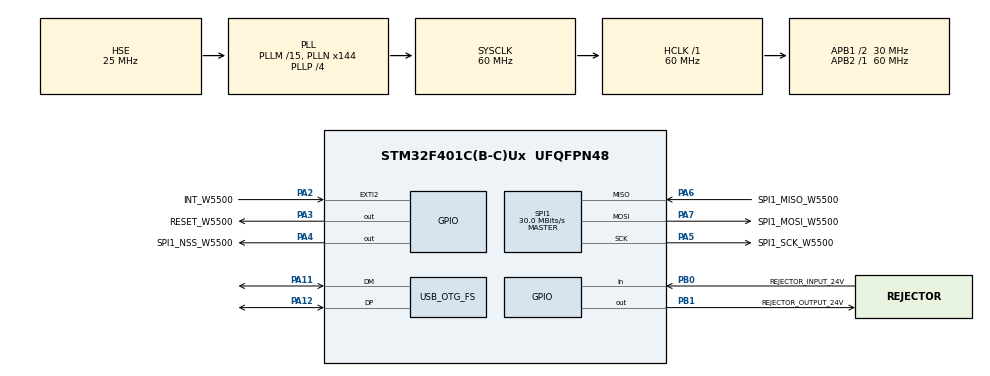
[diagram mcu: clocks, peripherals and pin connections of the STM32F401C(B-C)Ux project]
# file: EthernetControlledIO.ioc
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Mcu.Family=STM32F4
Mcu.Name=STM32F401C(B-C)Ux
Mcu.Package=UFQFPN48
NVIC.EXTI2_IRQn=true\:0\:0\:false\:false\:true\:true\:true\:true
NVIC.OTG_FS_IRQn=true\:0\:0\:false\:false\:true\:false\:true\:true
NVIC.PriorityGroup=NVIC_PRIORITYGROUP_4
NVIC.TIM1_UP_TIM10_IRQn=true\:0\:0\:false\:false\:true\:true\:true\:true
PA11.Mode=Device_Only
PA11.Signal=USB_OTG_FS_DM
PA12.Mode=Device_Only
PA12.Signal=USB_OTG_FS_DP
PA13.Mode=Serial_Wire
PA13.Signal=SYS_JTMS-SWDIO
PA14.Mode=Serial_Wire
PA14.Signal=SYS_JTCK-SWCLK
PA2.GPIO_Label=INT_W5500
PA2.Signal=GPXTI2
PA3.GPIO_Label=RESET_W5500
PA3.Signal=GPIO_Output
PA4.GPIO_Label=SPI1_NSS_W5500
PA4.Signal=GPIO_Output
PA5.GPIO_Label=SPI1_SCK_W5500
PA5.Mode=Full_Duplex_Master
PA5.Signal=SPI1_SCK
PA6.GPIO_Label=SPI1_MISO_W5500
PA6.Mode=Full_Duplex_Master
PA6.Signal=SPI1_MISO
PA7.GPIO_Label=SPI1_MOSI_W5500
PA7.Mode=Full_Duplex_Master
PA7.Signal=SPI1_MOSI
PB0.GPIO_Label=REJECTOR_INPUT_24V
PB0.Signal=GPIO_Input
PB1.GPIO_Label=REJECTOR_OUTPUT_24V
PB1.Signal=GPIO_Output
PH0\ -\ OSC_IN.Mode=HSE-External-Oscillator
PH0\ -\ OSC_IN.Signal=RCC_OSC_IN
PH1\ -\ OSC_OUT.Mode=HSE-External-Oscillator
PH1\ -\ OSC_OUT.Signal=RCC_OSC_OUT
ProjectManager.HeapSize=0x200
ProjectManager.StackSize=0x400
ProjectManager.TargetToolchain=STM32CubeIDE
RCC.48MHZClocksFreq_Value=48000000
RCC.AHBFreq_Value=60000000
RCC.APB1CLKDivider=RCC_HCLK_DIV2
RCC.APB1Freq_Value=30000000
RCC.APB1TimFreq_Value=60000000
RCC.APB2Freq_Value=60000000
RCC.APB2TimFreq_Value=60000000
RCC.CortexFreq_Value=60000000
RCC.HCLKFreq_Value=60000000
RCC.HSE_VALUE=25000000
RCC.HSI_VALUE=16000000
RCC.LSE_VALUE=32768
RCC.PLLM=15
RCC.PLLN=144
RCC.PLLP=RCC_PLLP_DIV4
RCC.PLLQ=5
RCC.SYSCLKFreq_VALUE=60000000
RCC.SYSCLKSource=RCC_SYSCLKSOURCE_PLLCLK
RCC.VCOOutputFreq_Value=240000000
SPI1.BaudRatePrescaler=SPI_BAUDRATEPRESCALER_2
SPI1.CalculateBaudRate=30.0 MBits/s
SPI1.Direction=SPI_DIRECTION_2LINES
SPI1.Mode=SPI_MODE_MASTER
SPI1.VirtualType=VM_MASTER
TIM10.Channel=TIM_CHANNEL_1
USB_DEVICE.CLASS_NAME_FS=CDC
USB_DEVICE.VirtualMode=Cdc
USB_DEVICE.VirtualModeFS=Cdc_FS
USB_OTG_FS.VirtualMode=Device_Only
VP_TIM10_VS_ClockSourceINT.Mode=Enable_Timer
VP_TIM10_VS_no_output1.Mode=Output Compare1 No Output
VP_USB_DEVICE_VS_USB_DEVICE_CDC_FS.Mode=CDC_FS
board=custom

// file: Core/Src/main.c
/* USER CODE BEGIN Header */
/**
  ******************************************************************************
  * @file           : main.c
  * @brief          : Main program body
  ******************************************************************************
  * @attention
  *
  * Copyright (c) 2024 STMicroelectronics.
  * All rights reserved.
  *
  * This software is licensed under terms that can be found in the LICENSE file
  * in the root directory of this software component.
  * If no LICENSE file comes with this software, it is provided AS-IS.
  *
  ******************************************************************************
  */
/* USER CODE END Header */
#include "main.h"
#include "usb_device.h"

/* USER CODE BEGIN Includes */
#include <string.h>
#include <stdarg.h>
#include <stdbool.h>
#include "app.h"

#ifdef UNIT_TEST_EN
#include "test_main.h"
#endif
#include "usbd_cdc_if.h"

#if defined (__ICCARM__) || defined (__ARMCC_VERSION)
#define PUTCHAR_PROTOTYPE int fputc(int ch, FILE *f)
#elif defined(__GNUC__)
/* With GCC, small printf (option LD Linker->Libraries->Small printf
set to 'Yes') calls __io_putchar() */
#define PUTCHAR_PROTOTYPE int __io_putchar(int ch)
#endif /* __ICCARM__ || __ARMCC_VERSION */

/* USER CODE END Includes */

SPI_HandleTypeDef hspi1;

TIM_HandleTypeDef htim10;

void SystemClock_Config(void);
static void MX_GPIO_Init(void);
static void MX_SPI1_Init(void);
static void MX_TIM10_Init(void);

int main(void)
{

    /* MCU Configuration--------------------------------------------------------*/

    /* Reset of all peripherals, Initializes the Flash interface and the Systick. */
    HAL_Init();

    /* Configure the system clock */
    SystemClock_Config();

    /* Initialize all configured peripherals */
    MX_GPIO_Init();
    MX_SPI1_Init();
    MX_USB_DEVICE_Init();
    MX_TIM10_Init();
    /* USER CODE BEGIN 2 */
    HAL_Delay(3000);

#ifdef UNIT_TEST_EN
    unitTestCases(NULL);
#endif
    Init_W5500();
    NetworkInit_W5500();
    Start_Listening_To_TCP_Client();
    /* USER CODE END 2 */

    /* Infinite loop */
    while (1)
    {

    }
}

void SystemClock_Config(void)
{
    RCC_OscInitTypeDef RCC_OscInitStruct = {0};
    RCC_ClkInitTypeDef RCC_ClkInitStruct = {0};

    /** Configure the main internal regulator output voltage
    */
    __HAL_RCC_PWR_CLK_ENABLE();
    __HAL_PWR_VOLTAGESCALING_CONFIG(PWR_REGULATOR_VOLTAGE_SCALE2);

    /** Initializes the RCC Oscillators according to the specified parameters
    * in the RCC_OscInitTypeDef structure.
    */
    RCC_OscInitStruct.OscillatorType = RCC_OSCILLATORTYPE_HSE;
    RCC_OscInitStruct.HSEState = RCC_HSE_ON;
    RCC_OscInitStruct.PLL.PLLState = RCC_PLL_ON;
    RCC_OscInitStruct.PLL.PLLSource = RCC_PLLSOURCE_HSE;
    RCC_OscInitStruct.PLL.PLLM = 15;
    RCC_OscInitStruct.PLL.PLLN = 144;
    RCC_OscInitStruct.PLL.PLLP = RCC_PLLP_DIV4;
    RCC_OscInitStruct.PLL.PLLQ = 5;
    if (HAL_RCC_OscConfig(&RCC_OscInitStruct) != HAL_OK)
    {
        Error_Handler();
    }

    /** Initializes the CPU, AHB and APB buses clocks
    */
    RCC_ClkInitStruct.ClockType = RCC_CLOCKTYPE_HCLK | RCC_CLOCKTYPE_SYSCLK
                                  | RCC_CLOCKTYPE_PCLK1 | RCC_CLOCKTYPE_PCLK2;
    RCC_ClkInitStruct.SYSCLKSource = RCC_SYSCLKSOURCE_PLLCLK;
    RCC_ClkInitStruct.AHBCLKDivider = RCC_SYSCLK_DIV1;
    RCC_ClkInitStruct.APB1CLKDivider = RCC_HCLK_DIV2;
    RCC_ClkInitStruct.APB2CLKDivider = RCC_HCLK_DIV1;

    if (HAL_RCC_ClockConfig(&RCC_ClkInitStruct, FLASH_LATENCY_1) != HAL_OK)
    {
        Error_Handler();
    }
}

static void MX_SPI1_Init(void)
{

    /* SPI1 parameter configuration*/
    hspi1.Instance = SPI1;
    hspi1.Init.Mode = SPI_MODE_MASTER;
    hspi1.Init.Direction = SPI_DIRECTION_2LINES;
    hspi1.Init.DataSize = SPI_DATASIZE_8BIT;
    hspi1.Init.CLKPolarity = SPI_POLARITY_LOW;
    hspi1.Init.CLKPhase = SPI_PHASE_1EDGE;
    hspi1.Init.NSS = SPI_NSS_SOFT;
    hspi1.Init.BaudRatePrescaler = SPI_BAUDRATEPRESCALER_2;
    hspi1.Init.FirstBit = SPI_FIRSTBIT_MSB;
    hspi1.Init.TIMode = SPI_TIMODE_DISABLE;
    hspi1.Init.CRCCalculation = SPI_CRCCALCULATION_DISABLE;
    hspi1.Init.CRCPolynomial = 10;
    if (HAL_SPI_Init(&hspi1) != HAL_OK)
    {
        Error_Handler();
    }

}

static void MX_TIM10_Init(void)
{

    TIM_OC_InitTypeDef sConfigOC = {0};

    htim10.Instance = TIM10;
    htim10.Init.Prescaler = 0;
    htim10.Init.CounterMode = TIM_COUNTERMODE_UP;
    htim10.Init.Period = 65535;
    htim10.Init.ClockDivision = TIM_CLOCKDIVISION_DIV1;
    htim10.Init.AutoReloadPreload = TIM_AUTORELOAD_PRELOAD_DISABLE;
    if (HAL_TIM_Base_Init(&htim10) != HAL_OK)
    {
        Error_Handler();
    }
    if (HAL_TIM_OC_Init(&htim10) != HAL_OK)
    {
        Error_Handler();
    }
    sConfigOC.OCMode = TIM_OCMODE_TIMING;
    sConfigOC.Pulse = 0;
    sConfigOC.OCPolarity = TIM_OCPOLARITY_HIGH;
    sConfigOC.OCFastMode = TIM_OCFAST_DISABLE;
    if (HAL_TIM_OC_ConfigChannel(&htim10, &sConfigOC, TIM_CHANNEL_1) != HAL_OK)
    {
        Error_Handler();
    }

}

static void MX_GPIO_Init(void)
{
    GPIO_InitTypeDef GPIO_InitStruct = {0};

    /* GPIO Ports Clock Enable */
    __HAL_RCC_GPIOH_CLK_ENABLE();
    __HAL_RCC_GPIOA_CLK_ENABLE();
    __HAL_RCC_GPIOB_CLK_ENABLE();

    /*Configure GPIO pin Output Level */
    HAL_GPIO_WritePin(GPIOA, RESET_W5500_Pin | SPI1_NSS_W5500_Pin, GPIO_PIN_RESET);

    /*Configure GPIO pin Output Level */
    HAL_GPIO_WritePin(REJECTOR_OUTPUT_24V_GPIO_Port, REJECTOR_OUTPUT_24V_Pin, GPIO_PIN_RESET);

    /*Configure GPIO pin : INT_W5500_Pin */
    GPIO_InitStruct.Pin = INT_W5500_Pin;
    GPIO_InitStruct.Mode = GPIO_MODE_IT_RISING_FALLING;
    GPIO_InitStruct.Pull = GPIO_NOPULL;
    //HAL_GPIO_Init(INT_W5500_GPIO_Port, &GPIO_InitStruct);

    /*Configure GPIO pins : RESET_W5500_Pin SPI1_NSS_W5500_Pin */
    GPIO_InitStruct.Pin = RESET_W5500_Pin | SPI1_NSS_W5500_Pin;
    GPIO_InitStruct.Mode = GPIO_MODE_OUTPUT_PP;
    GPIO_InitStruct.Pull = GPIO_NOPULL;
    GPIO_InitStruct.Speed = GPIO_SPEED_FREQ_LOW;
    HAL_GPIO_Init(GPIOA, &GPIO_InitStruct);

    /*Configure GPIO pin : REJECTOR_INPUT_24V_Pin */
    GPIO_InitStruct.Pin = REJECTOR_INPUT_24V_Pin;
    GPIO_InitStruct.Mode = GPIO_MODE_INPUT;
    GPIO_InitStruct.Pull = GPIO_NOPULL;
    HAL_GPIO_Init(REJECTOR_INPUT_24V_GPIO_Port, &GPIO_InitStruct);

    /*Configure GPIO pin : REJECTOR_OUTPUT_24V_Pin */
    GPIO_InitStruct.Pin = REJECTOR_OUTPUT_24V_Pin;
    GPIO_InitStruct.Mode = GPIO_MODE_OUTPUT_PP;
    GPIO_InitStruct.Pull = GPIO_NOPULL;
    GPIO_InitStruct.Speed = GPIO_SPEED_FREQ_LOW;
    HAL_GPIO_Init(REJECTOR_OUTPUT_24V_GPIO_Port, &GPIO_InitStruct);

    /* EXTI interrupt init*/
    HAL_NVIC_SetPriority(EXTI2_IRQn, 0, 0);
    HAL_NVIC_EnableIRQ(EXTI2_IRQn);

}

/* USER CODE BEGIN 4 */
PUTCHAR_PROTOTYPE
{
#ifdef DEBUG
    /* Place your implementation of fputc here */
    volatile uint32_t retry = 500;
    while ((CDC_Transmit_FS((uint8_t *)&ch, 1) != 0) && retry)
    {
        retry--;
    }
    return ch;
#else
    return (char)'\0';
#endif
}
/* USER CODE END 4 */

void Error_Handler(void)
{
    __disable_irq();
    while (1)
    {
    }
}
